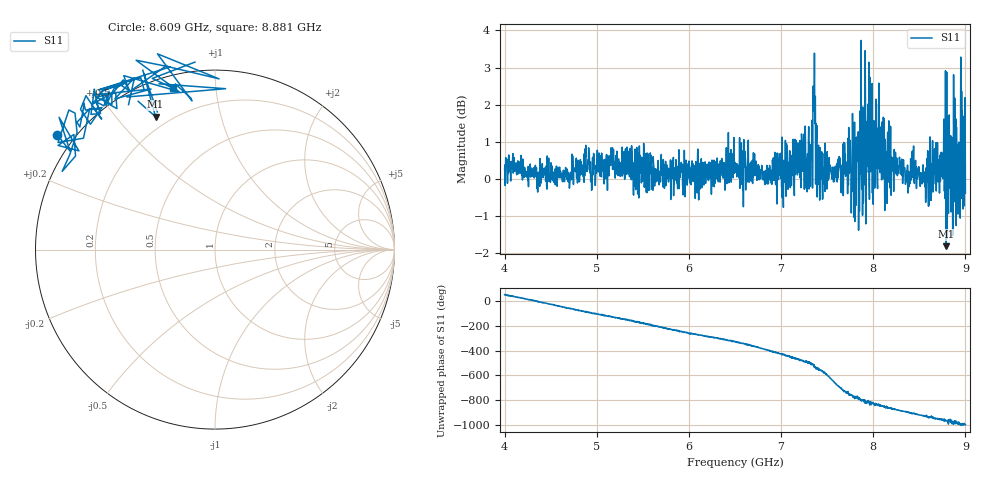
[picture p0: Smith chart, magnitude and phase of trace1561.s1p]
! Created with skrf 1.8.0 (http://scikit-rf.org).
# Hz S RI R 50.0
!freq ReS11 ImS11
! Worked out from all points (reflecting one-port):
!   1601 points, 4 GHz to 9 GHz, reference 50 ohm
!   lowest |S11| = -1.8 dB at 8.791 GHz (marker M1), VSWR 9.62, Z = 7.35 + j31.9 ohm
!   phase of S11 starts at 51 deg and turns -1049 deg over the sweep
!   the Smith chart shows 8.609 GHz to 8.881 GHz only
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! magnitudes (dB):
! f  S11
! 4 GHz  0.3
! 4.625 GHz  0.0
! 4.897 GHz  0.2
! 5.25 GHz  0.1
! 5.875 GHz  -0.1
! 6.5 GHz  0.3
! 6.825 GHz  -0.2
! 7.125 GHz  0.6
! 7.244 GHz  0.2
! 7.294 GHz  -0.2
! 7.362 GHz  3.4
! 7.4 GHz  0.5
! 7.441 GHz  0.7
! 7.75 GHz  1.0
! 7.825 GHz  1.1
! 7.844 GHz  0.4
! 7.875 GHz  -0.3
! 7.891 GHz  -0.7
! 7.909 GHz  1.8
! 7.928 GHz  0.5
! 7.981 GHz  0.3
! 8.097 GHz  0.0
! 8.375 GHz  0.1
! 8.581 GHz  -0.1
! 8.791 GHz  -1.8
! 8.919 GHz  -0.9
! 8.972 GHz  0.8
! 9 GHz  -0.4
